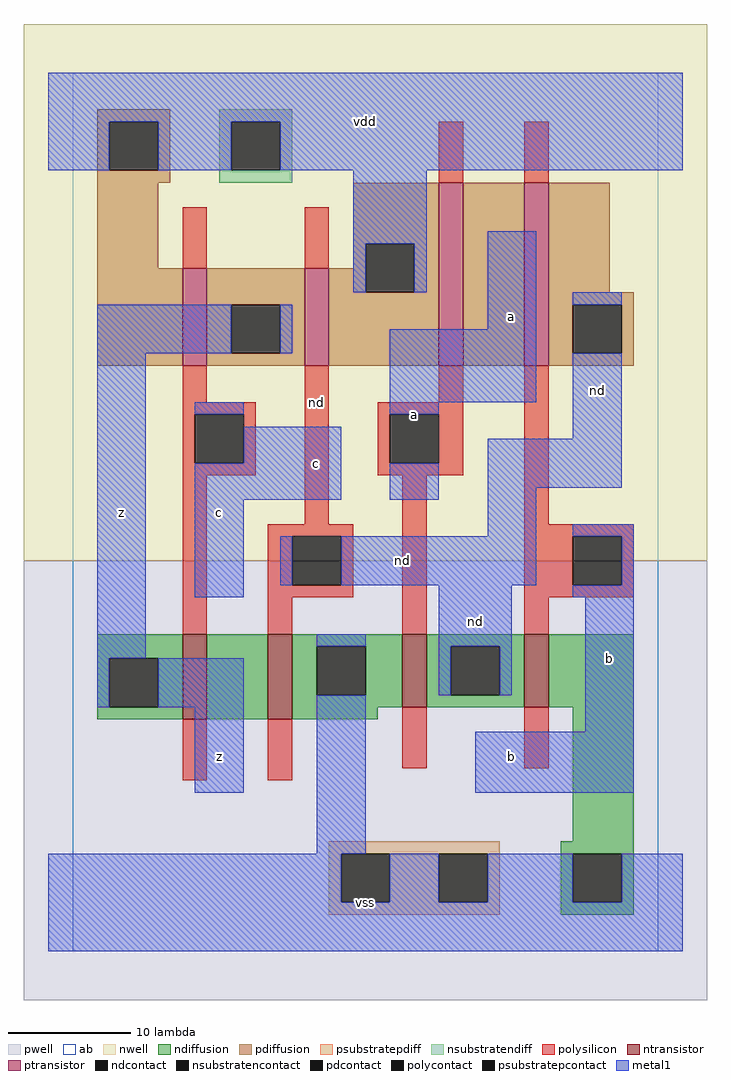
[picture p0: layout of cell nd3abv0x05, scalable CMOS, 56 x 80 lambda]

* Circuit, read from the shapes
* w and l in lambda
.subckt nd3abv0x05 a b c nd vdd vss z
M1 n1 c z vss nfet w=7 l=2
M2 vss nd n1 vss nfet w=7 l=2
M3 nd a vss vss nfet w=6 l=2
M4 vss b nd vss nfet w=6 l=2
M5 z c vdd vdd pfet w=8 l=2
M6 vdd nd z vdd pfet w=8 l=2
M7 n2 a vdd vdd pfet w=15 l=2
M8 nd b n2 vdd pfet w=15 l=2
.ends

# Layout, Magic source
magic
tech scmos
<< ab >>
rect 0 0 48 72
<< pwell >>
rect -4 -4 52 32
<< nwell >>
rect -4 32 52 76
<< polysilicon >>
rect 30 63 32 68
rect 37 63 39 68
rect 9 56 11 61
rect 19 56 21 61
rect 9 45 11 48
rect 9 44 15 45
rect 9 40 10 44
rect 14 40 15 44
rect 9 39 15 40
rect 9 26 11 39
rect 19 35 21 48
rect 30 45 32 48
rect 25 44 32 45
rect 25 40 26 44
rect 30 40 32 44
rect 25 39 32 40
rect 16 34 23 35
rect 16 30 18 34
rect 22 30 23 34
rect 16 29 23 30
rect 16 26 18 29
rect 27 26 29 39
rect 37 35 39 48
rect 37 34 46 35
rect 37 30 41 34
rect 45 30 46 34
rect 37 29 46 30
rect 37 26 39 29
rect 9 14 11 19
rect 16 14 18 19
rect 27 15 29 20
rect 37 15 39 20
<< ndiffusion >>
rect 2 24 9 26
rect 2 20 3 24
rect 7 20 9 24
rect 2 19 9 20
rect 11 19 16 26
rect 18 25 27 26
rect 18 21 20 25
rect 24 21 27 25
rect 18 20 27 21
rect 29 25 37 26
rect 29 21 31 25
rect 35 21 37 25
rect 29 20 37 21
rect 39 20 46 26
rect 18 19 25 20
rect 41 9 46 20
rect 40 8 46 9
rect 40 4 41 8
rect 45 4 46 8
rect 40 3 46 4
<< pdiffusion >>
rect 2 68 8 69
rect 2 64 3 68
rect 7 64 8 68
rect 2 63 8 64
rect 2 56 7 63
rect 23 58 30 63
rect 23 56 24 58
rect 2 48 9 56
rect 11 53 19 56
rect 11 49 13 53
rect 17 49 19 53
rect 11 48 19 49
rect 21 54 24 56
rect 28 54 30 58
rect 21 48 30 54
rect 32 48 37 63
rect 39 54 44 63
rect 39 53 46 54
rect 39 49 41 53
rect 45 49 46 53
rect 39 48 46 49
<< metal1 >>
rect -2 68 50 72
rect -2 64 3 68
rect 7 64 13 68
rect 17 64 50 68
rect 23 58 29 64
rect 23 54 24 58
rect 28 54 29 58
rect 2 49 13 53
rect 17 49 18 53
rect 34 51 38 59
rect 2 24 6 49
rect 26 45 38 51
rect 41 53 45 54
rect 10 44 14 45
rect 26 44 30 45
rect 14 40 22 43
rect 10 37 22 40
rect 41 42 45 49
rect 26 37 30 40
rect 34 38 45 42
rect 10 29 14 37
rect 34 34 38 38
rect 17 30 18 34
rect 22 30 38 34
rect 41 34 46 35
rect 45 30 46 34
rect 20 25 24 26
rect 2 20 3 24
rect 7 20 14 24
rect 10 13 14 20
rect 30 25 36 30
rect 41 29 46 30
rect 30 21 31 25
rect 35 21 36 25
rect 20 8 24 21
rect 42 18 46 29
rect 33 13 46 18
rect -2 4 22 8
rect 26 4 30 8
rect 34 4 41 8
rect 45 4 50 8
rect -2 0 50 4
<< ntransistor >>
rect 9 19 11 26
rect 16 19 18 26
rect 27 20 29 26
rect 37 20 39 26
<< ptransistor >>
rect 9 48 11 56
rect 19 48 21 56
rect 30 48 32 63
rect 37 48 39 63
<< polycontact >>
rect 10 40 14 44
rect 26 40 30 44
rect 18 30 22 34
rect 41 30 45 34
<< ndcontact >>
rect 3 20 7 24
rect 20 21 24 25
rect 31 21 35 25
rect 41 4 45 8
<< pdcontact >>
rect 3 64 7 68
rect 13 49 17 53
rect 24 54 28 58
rect 41 49 45 53
<< psubstratepcontact >>
rect 22 4 26 8
rect 30 4 34 8
<< nsubstratencontact >>
rect 13 64 17 68
<< psubstratepdiff >>
rect 21 8 35 9
rect 21 4 22 8
rect 26 4 30 8
rect 34 4 35 8
rect 21 3 35 4
<< nsubstratendiff >>
rect 12 68 18 69
rect 12 64 13 68
rect 17 64 18 68
rect 12 63 18 64
<< labels >>
rlabel polysilicon 20 45 20 45 6 nd
rlabel metal1 4 36 4 36 6 z
rlabel metal1 12 16 12 16 6 z
rlabel metal1 20 40 20 40 6 c
rlabel metal1 12 36 12 36 6 c
rlabel metal1 24 4 24 4 6 vss
rlabel metal1 33 27 33 27 6 nd
rlabel metal1 28 44 28 44 6 a
rlabel metal1 24 68 24 68 6 vdd
rlabel metal1 36 16 36 16 6 b
rlabel metal1 27 32 27 32 6 nd
rlabel metal1 44 24 44 24 6 b
rlabel metal1 43 46 43 46 6 nd
rlabel metal1 36 52 36 52 6 a
<< end >>
